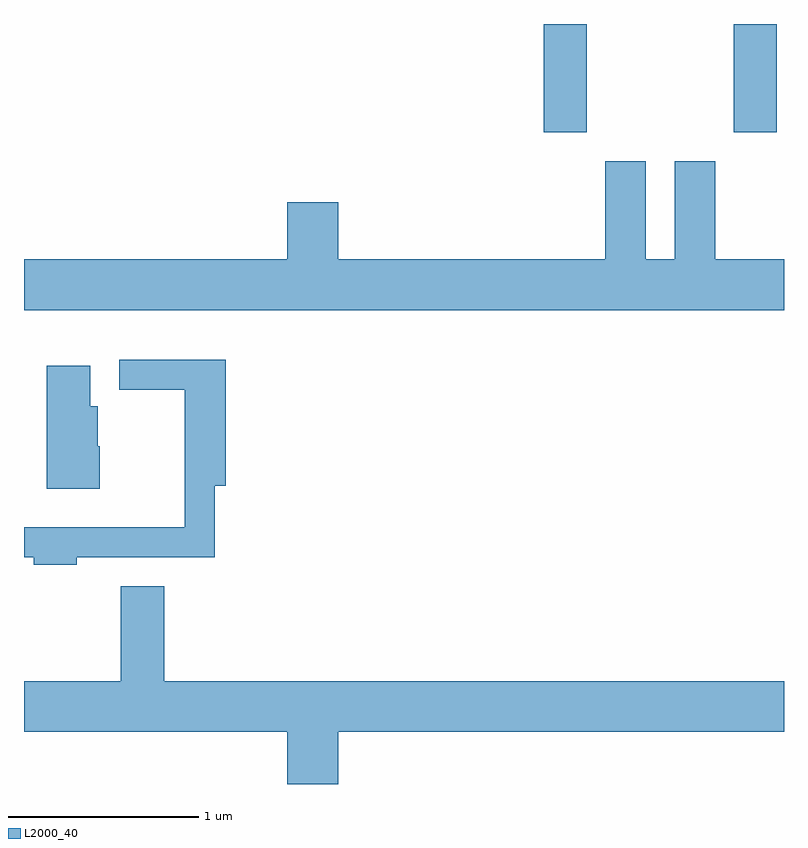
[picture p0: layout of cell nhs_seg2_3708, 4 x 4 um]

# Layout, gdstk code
import gdstk
lib = gdstk.Library(unit=1e-6, precision=1e-09)
def R(c, l, rs):  # rectangles x0, y0, x1, y1
    for r in rs: c.add(gdstk.rectangle(r[:2], r[2:], *l))
def P(c, l, *ps):  # polygons
    for p in ps: c.add(gdstk.Polygon(p, *l))
L2000_40 = (2000, 40)

nhs_seg2_3708 = lib.new_cell('nhs_seg2_3708')
R(nhs_seg2_3708, L2000_40, [(296.346,1069.231,296.574,1069.802), (297.346,1069.231,297.574,1069.802)])
P(nhs_seg2_3708, L2000_40, [(296.671,1069.079),(296.671,1068.564),(295.264,1068.564),(295.264,1068.864),(294.996,1068.864),(294.996,1068.564),(293.611,1068.564),(293.611,1068.296),(297.611,1068.296),(297.611,1068.564),(297.249,1068.564),(297.249,1069.079),(297.036,1069.079),(297.036,1068.564),(296.884,1068.564),(296.884,1069.079)],
  [(293.889,1066.996),(294.614,1066.996),(294.614,1067.371),(294.674,1067.371),(294.674,1068.034),(294.113,1068.034),(294.113,1067.876),(294.456,1067.876),(294.456,1067.154),(293.611,1067.154),(293.611,1066.996),(293.661,1066.996),(293.661,1066.956),(293.889,1066.956)],
  [(294.009,1067.58),(293.999,1067.58),(293.999,1067.789),(293.959,1067.789),(293.959,1068.004),(293.731,1068.004),(293.731,1067.356),(294.009,1067.356)],
  [(295.264,1066.076),(297.611,1066.076),(297.611,1066.344),(294.349,1066.344),(294.349,1066.844),(294.121,1066.844),(294.121,1066.344),(293.611,1066.344),(293.611,1066.076),(294.996,1066.076),(294.996,1065.802),(295.264,1065.802)])

lib.write_gds('nhs_seg2_3708.gds')
